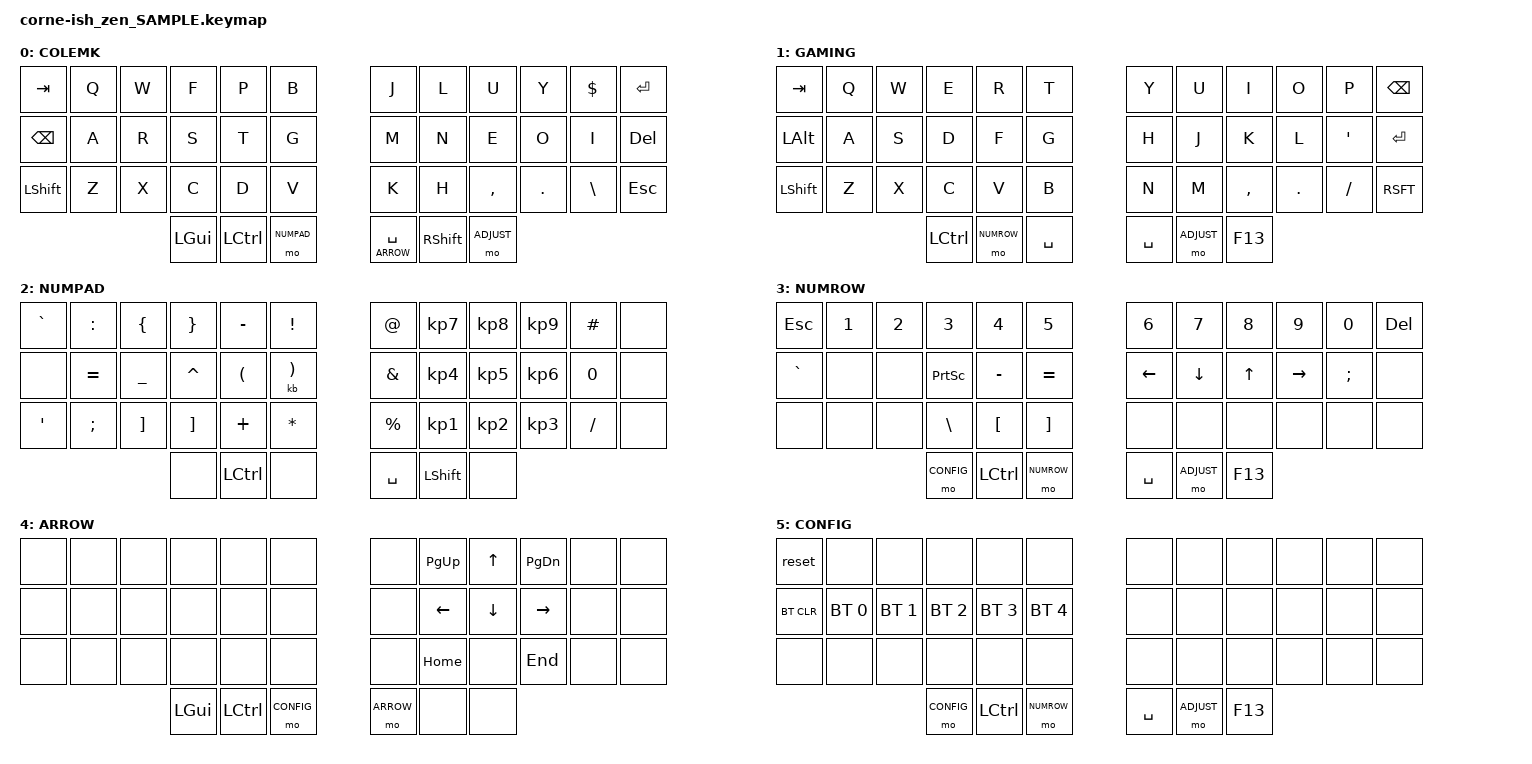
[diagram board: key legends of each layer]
/*
*
* Copyright (c) 2021 lowprokb.ca
* SPDX-License-Identifier: MIT
*
*/

#include <behaviors.dtsi>
#include <dt-bindings/zmk/keys.h>
#include <dt-bindings/zmk/bt.h>

#define COLEMK 0
#define GAMING 1
#define NUMPAD 2
#define NUMROW 3
#define ARROW 4
#define CONFIG 5

/ {
        keymap {
                compatible = "zmk,keymap";

                default_layer {
                        label = "COLEMK";
                        bindings = <
   &kp TAB   &kp Q &kp W &kp F &kp P &kp B    &kp J &kp L &kp U    &kp Y   &kp DLLR    &kp ENTER
   &kp BSPC  &kp A &kp R &kp S &kp T &kp G    &kp M &kp N &kp E    &kp O   &kp I    &kp DEL
   &kp LSHFT &kp Z &kp X &kp C &kp D &kp V    &kp K &kp H &kp CMMA &kp DOT &kp BSLH &kp ESC
              &kp LGUI &kp LCTL &mo NUMPAD    &lt ARROW SPC &kp RSHFT &mo ADJUST
                        >;
                };

                gaming_layer {
                        label = "GAMING";
                        bindings = <
   &kp TAB   &kp Q &kp W &kp E &kp R &kp T    &kp Y &kp U &kp I    &kp O   &kp P    &kp BKSP
   &kp LALT  &kp A &kp S &kp D &kp F &kp G    &kp H &kp J &kp K    &kp L   &kp QUOT &kp ENTER
   &kp LSHFT &kp Z &kp X &kp C &kp V &kp B    &kp N &kp M &kp CMMA &kp DOT &kp FSLH &kp RSFT
               &kp LCTL &mo NUMROW &kp SPC    &kp SPC &mo ADJUST &kp F13
                        >;
                };

                numpad_layer {
                        label = "NUMPAD";
                        bindings = < 
   &kp GRAVE &kp COLON &kp LBRC  &kp RBRC  &kp MINUS &kp EXCL           &kp AT    &kp KP_N7 &kp KP_N8 &kp KP_N9 &kp HASH  &none
   &none     &kp EQUAL &kp UNDER &kp CARET &kp LPAR  &kb RPAR           &kp AMPS  &kp KP_N4 &kp KP_N5 &kp KP_N6 &kp N0    &none
   &kp APOS  &kp SEMI  &kp RBKT  &kp RBKT  &kp PLUS  &kp ASTRK          &kp PRCNT &kp KP_N1 &kp KP_N2 &kp KP_N3 &kp FSLH  &none
                                        &none  &kp LCTL  &none          &kp SPC   &kp LSHFT &none
                        >;
                };

                numrow_layer {
                        label = "NUMROW";
                        bindings = <
   &kp ESC   &kp N1 &kp N2 &kp N3    &kp N4    &kp N5       &kp N6   &kp N7   &kp N8 &kp N9    &kp N0   &kp DEL
   &kp GRAVE &none  &none  &kp PSCRN &kp MINUS &kp EQUAL    &kp LEFT &kp DOWN &kp UP &kp RIGHT &kp SEMI &none
   &none     &none  &none  &kp BSLH  &kp LBKT  &kp RBKT     &none    &none    &none  &none     &none    &none 
                          &mo CONFIG &kp LCTL &mo NUMROW    &kp SPC &mo ADJUST &kp F13
                        >;
                };

                adjust_layer {
                        label = "ARROW";
                        bindings = <
   &none   &none  &none  &none &none  &none             &none     &kp PG_UP &kp UP   &kp PG_DN &none   &none
   &none   &none  &none  &none &none  &none             &none     &kp LEFT  &kp DOWN &kp RIGHT &none   &none
   &none   &none  &none  &none &none  &none             &none     &kp HOME  &none    &kp END   &none   &none
               &kp LGUI &kp LCTL &mo CONFIG             &mo ARROW &none  &none
                        >;
                };

                config_layer {
                        label = "CONFIG";
                        bindings = <
   &reset     &none        &none        &none        &none        &none           &none &none &none &none &none &none 
   &bt BT_CLR &bt BT_SEL 0 &bt BT_SEL 1 &bt BT_SEL 2 &bt BT_SEL 3 &bt BT_SEL 4    &none &none &none &none &none &none
   &none      &none        &none        &none        &none        &none           &none &none &none &none &none &none
                                                &mo CONFIG &kp LCTL &mo NUMROW    &kp SPC &mo ADJUST &kp F13
                        >;
                };
        };
};
